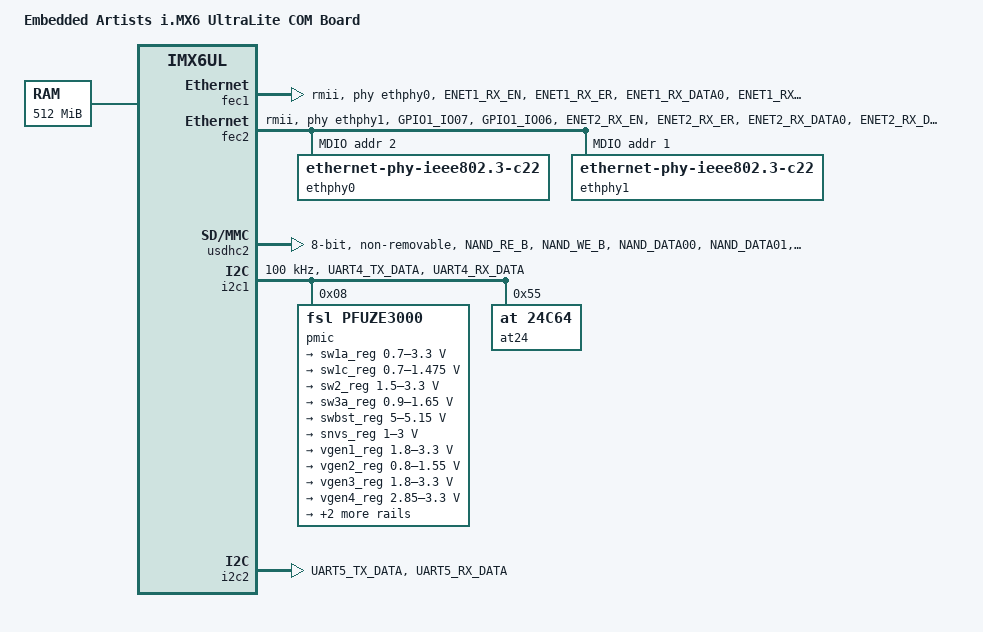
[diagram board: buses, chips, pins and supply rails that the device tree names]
/*
 * Copyright (C) 2015 Freescale Semiconductor, Inc.
 *
 * This program is free software; you can redistribute it and/or modify
 * it under the terms of the GNU General Public License version 2 as
 * published by the Free Software Foundation.
 */


#include <dt-bindings/input/input.h>
#include "imx6ul.dtsi"

/ {
	model = "Embedded Artists i.MX6 UltraLite COM Board";
	compatible = "fsl,imx6ulea-com", "fsl,imx6ul";

	memory {
		reg = <0x80000000 0x20000000>;
	};

};

&cpu0 {
	operating-points = <
		/* kHz	uV */
		528000	1175000
		396000	1175000
		198000	1175000
	>;
	fsl,soc-operating-points = <
		/* KHz	uV */
		528000	1175000
		396000	1175000
		198000	1175000
	>;

	fsl,arm-soc-shared = <1>;
};

&reg_arm {
	vin-supply = <&sw1c_reg>;
	regulator-allow-bypass;
};

&reg_soc {
	vin-supply = <&sw1c_reg>;
	regulator-allow-bypass;
};

&fec1 {
	pinctrl-names = "default";
	pinctrl-0 = <&pinctrl_enet1>;
	phy-mode = "rmii";
	phy-handle = <&ethphy0>;
	status = "okay";
};

&fec2 {
	pinctrl-names = "default";
	pinctrl-0 = <&pinctrl_enet2>;
	phy-mode = "rmii";
	phy-handle = <&ethphy1>;
	status = "okay";

	mdio {
		#address-cells = <1>;
		#size-cells = <0>;

		ethphy0: ethernet-phy@2 {
			compatible = "ethernet-phy-ieee802.3-c22";
			reg = <2>;
			micrel,led-mode = <1>;
			micrel,rmii-override;
			clocks = <&clks IMX6UL_CLK_ENET_REF>;
			clock-names = "rmii-ref";
		};

		ethphy1: ethernet-phy@1 {
			compatible = "ethernet-phy-ieee802.3-c22";
			reg = <1>;
			micrel,led-mode = <1>;
			micrel,rmii-override;
			clocks = <&clks IMX6UL_CLK_ENET2_REF>;
			clock-names = "rmii-ref";
		};
	};
};

&gpc {
	fsl,cpu_pupscr_sw2iso = <0x1>;
	fsl,cpu_pupscr_sw = <0x0>;
	fsl,cpu_pdnscr_iso2sw = <0x1>;
	fsl,cpu_pdnscr_iso = <0x1>;
	fsl,wdog-reset = <1>; /* watchdog select of reset source */
	fsl,ldo-bypass = <1>; /* use ldo-bypass, u-boot will check it and configure */
};


&usdhc2 {
	pinctrl-names = "default";
	pinctrl-0 = <&pinctrl_usdhc2>;
	bus-width = <8>;
	non-removable;
	status = "okay";
};

&i2c1 {
	clock-frequency = <100000>;
	pinctrl-names = "default";
	pinctrl-0 = <&pinctrl_i2c1>;
	status = "okay";

	pmic: pfuze3000@8 {
		compatible = "fsl,pfuze3000";
		reg = <0x8>;

		regulators {
			sw1a_reg: sw1a {
				regulator-min-microvolt = <700000>;
				regulator-max-microvolt = <3300000>;
				regulator-boot-on;
				regulator-always-on;
				regulator-ramp-delay = <6250>;
			};

			/* use sw1c_reg to align with pfuze100/pfuze200 */
			sw1c_reg: sw1b {
				regulator-min-microvolt = <700000>;
				regulator-max-microvolt = <1475000>;
				regulator-boot-on;
				regulator-always-on;
				regulator-ramp-delay = <6250>;
			};

			sw2_reg: sw2 {
				regulator-min-microvolt = <1500000>;
				regulator-max-microvolt = <3300000>;
				regulator-boot-on;
				regulator-always-on;
			};

			sw3a_reg: sw3 {
				regulator-min-microvolt = <900000>;
				regulator-max-microvolt = <1650000>;
				regulator-boot-on;
				regulator-always-on;
			};

			swbst_reg: swbst {
				regulator-min-microvolt = <5000000>;
				regulator-max-microvolt = <5150000>;
			};

			snvs_reg: vsnvs {
				regulator-min-microvolt = <1000000>;
				regulator-max-microvolt = <3000000>;
				regulator-boot-on;
				regulator-always-on;
			};

			vref_reg: vrefddr {
				regulator-boot-on;
				regulator-always-on;
			};

			vgen1_reg: vldo1 {
				regulator-min-microvolt = <1800000>;
				regulator-max-microvolt = <3300000>;
				regulator-always-on;
			};

			vgen2_reg: vldo2 {
				regulator-min-microvolt = <800000>;
				regulator-max-microvolt = <1550000>;
				regulator-always-on;
			};

			vgen3_reg: vccsd {
				regulator-min-microvolt = <1800000>;
				regulator-max-microvolt = <3300000>;
				regulator-always-on;
			};

			vgen4_reg: v33 {
				regulator-min-microvolt = <2850000>;
				regulator-max-microvolt = <3300000>;
				regulator-always-on;
			};

			vgen5_reg: vldo3 {
				regulator-min-microvolt = <1800000>;
				regulator-max-microvolt = <3300000>;
				regulator-always-on;
			};

			vgen6_reg: vldo4 {
				regulator-min-microvolt = <1800000>;
				regulator-max-microvolt = <3300000>;
				regulator-always-on;
			};
		};
	};

	at24@55 {
		compatible = "at,24c64";
		pagesize = <32>;
		reg = <0x55>;
	};

};

&i2c2 {
	clock_frequency = <100000>;
	pinctrl-names = "default";
	pinctrl-0 = <&pinctrl_i2c2>;
	status = "okay";
};

&iomuxc {
	pinctrl-names = "default";
	pinctrl-0 = <&pinctrl_hog_1>;
	imx6ulea-com {
		pinctrl_hog_1: hoggrp-1 {
			fsl,pins = <
				MX6UL_PAD_LCD_RESET__WDOG1_WDOG_ANY    0x30b0
				MX6UL_PAD_GPIO1_IO09__GPIO1_IO09        0x17059 /* SD1 RESET */
				MX6UL_PAD_SNVS_TAMPER1__GPIO5_IO01      0x17059 /* CAN Regulator */
			>;
		};


		pinctrl_enet1: enet1grp {
			fsl,pins = <
				MX6UL_PAD_ENET1_RX_EN__ENET1_RX_EN	0x1b0b0
				MX6UL_PAD_ENET1_RX_ER__ENET1_RX_ER	0x1b0b0
				MX6UL_PAD_ENET1_RX_DATA0__ENET1_RDATA00	0x1b0b0
				MX6UL_PAD_ENET1_RX_DATA1__ENET1_RDATA01	0x1b0b0
				MX6UL_PAD_ENET1_TX_EN__ENET1_TX_EN	0x1b0b0
				MX6UL_PAD_ENET1_TX_DATA0__ENET1_TDATA00	0x1b0b0
				MX6UL_PAD_ENET1_TX_DATA1__ENET1_TDATA01	0x1b0b0
				MX6UL_PAD_ENET1_TX_CLK__ENET1_REF_CLK1	0x4001b031
			>;
		};

		pinctrl_enet2: enet2grp {
			fsl,pins = <
				MX6UL_PAD_GPIO1_IO07__ENET2_MDC		0x1b0b0
				MX6UL_PAD_GPIO1_IO06__ENET2_MDIO	0x1b0b0
				MX6UL_PAD_ENET2_RX_EN__ENET2_RX_EN	0x1b0b0
				MX6UL_PAD_ENET2_RX_ER__ENET2_RX_ER	0x1b0b0
				MX6UL_PAD_ENET2_RX_DATA0__ENET2_RDATA00	0x1b0b0
				MX6UL_PAD_ENET2_RX_DATA1__ENET2_RDATA01	0x1b0b0
				MX6UL_PAD_ENET2_TX_EN__ENET2_TX_EN	0x1b0b0
				MX6UL_PAD_ENET2_TX_DATA0__ENET2_TDATA00	0x1b0b0
				MX6UL_PAD_ENET2_TX_DATA1__ENET2_TDATA01	0x1b0b0
				MX6UL_PAD_ENET2_TX_CLK__ENET2_REF_CLK2	0x4001b031
				MX6UL_PAD_SNVS_TAMPER0__GPIO5_IO00	0x80000000
			>;
		};



		pinctrl_usdhc2: usdhc2grp {
			fsl,pins = <
				MX6UL_PAD_NAND_RE_B__USDHC2_CLK     0x10069
				MX6UL_PAD_NAND_WE_B__USDHC2_CMD     0x17059
				MX6UL_PAD_NAND_DATA00__USDHC2_DATA0 0x17059
				MX6UL_PAD_NAND_DATA01__USDHC2_DATA1 0x17059
				MX6UL_PAD_NAND_DATA02__USDHC2_DATA2 0x17059
				MX6UL_PAD_NAND_DATA03__USDHC2_DATA3 0x17059
				MX6UL_PAD_NAND_DATA04__USDHC2_DATA4 0x17059
				MX6UL_PAD_NAND_DATA05__USDHC2_DATA5 0x17059
				MX6UL_PAD_NAND_DATA06__USDHC2_DATA6 0x17059
				MX6UL_PAD_NAND_DATA07__USDHC2_DATA7 0x17059
			>;
		};


		pinctrl_i2c1: i2c1grp {
			fsl,pins = <
				MX6UL_PAD_UART4_TX_DATA__I2C1_SCL 0x4001b8b0
				MX6UL_PAD_UART4_RX_DATA__I2C1_SDA 0x4001b8b0
			>;
		};

		pinctrl_i2c2: i2c2grp {
			fsl,pins = <
				MX6UL_PAD_UART5_TX_DATA__I2C2_SCL 0x4001b8b0
				MX6UL_PAD_UART5_RX_DATA__I2C2_SDA 0x4001b8b0
			>;
		};


	};
};
